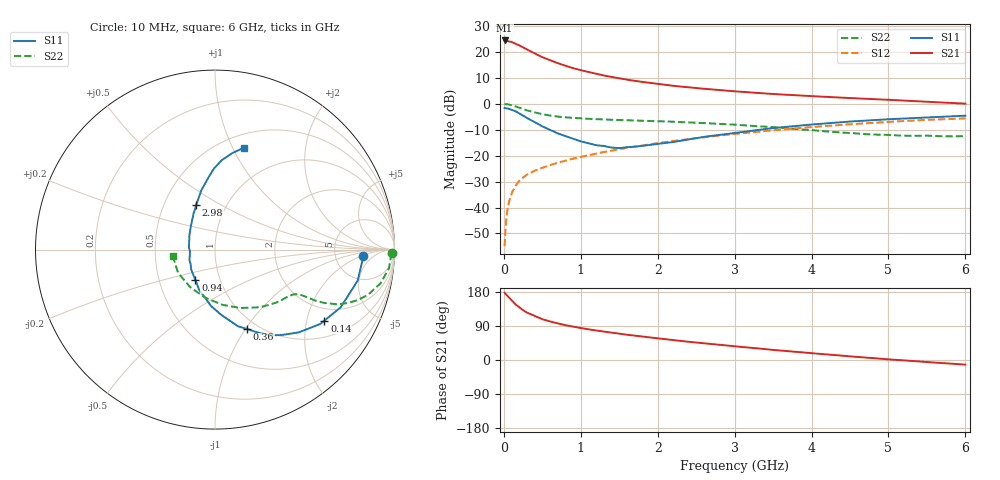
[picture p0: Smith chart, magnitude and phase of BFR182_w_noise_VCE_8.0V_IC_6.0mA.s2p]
! Infineon Technologies  Discrete & RF Semiconductors
! BFR182
! VCE =  8.0 V,  IC =  6.0 mA
! Common Emitter S-Parameters:  Nov 2015
# GHz  S  MA  R  50
!  f  S11  S21  S12  S22
! GHz  MAG  ANG  MAG  ANG  MAG  ANG  MAG  ANG
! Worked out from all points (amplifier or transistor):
!   210 points, 10 MHz to 6 GHz, reference 50 ohm
!   highest |S21| = 24.4 dB at 10 MHz (marker M1)
!   |S21| within 3 dB of that: start of sweep to 273.3 MHz
!   unconditionally stable (mu >= 1): 1.064 GHz to 2.915 GHz
!   at 185 MHz: K = 0.36, MSG = 26.5 dB, |S12| = -30.3 dB
!   at 1.52 GHz: K = 1.05, MAG = 12.2 dB, |S12| = -17.4 dB
!   at 6 GHz: K = 0.88, MSG = 2.8 dB, |S12| = -5.6 dB
!   lowest NFmin = 1.20 dB at 450 MHz
!   S11 on the Smith chart (normalised r, x): 10 MHz: 10, -2; 140 MHz: 1.53, -2.56; 360 MHz: 0.89, -1.02; 940 MHz: 0.76, -0.27; 2.98 GHz: 0.72, +0.39; 6 GHz: 0.64, +1.10
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0.01  0.8257 -2.5  16.58 177.3  0.0018 92.4  0.9863 -1.2
0.04  0.8148 -9.8  16.23 170.6  0.0077 83.5  0.9764 -4.9
0.1  0.7704 -24.7  15.54 157.8  0.0185 77.9  0.9403 -11.6
0.14  0.7267 -33.0  14.59 149.4  0.0244 73.7  0.8996 -15.4
0.15  0.7183 -35.2  14.41 147.1  0.0259 72.9  0.8901 -16.4
0.2  0.6559 -44.7  13.34 139.0  0.0326 69.7  0.8414 -19.6
0.24  0.6032 -52.1  12.46 132.9  0.0368 66.7  0.8011 -21.7
0.3  0.5317 -61.4  11.16 125.1  0.0428 65.1  0.7451 -24.1
0.36  0.4776 -68.0  10.03 120.0  0.0478 63.6  0.7053 -25.2
0.4  0.4458 -73.3  9.318 116.0  0.0512 62.8  0.6789 -26.0
0.5  0.3667 -84.3  7.893 107.7  0.0582 62.1  0.6291 -26.9
0.6  0.3147 -94.1  6.893 101.5  0.0656 62.2  0.5909 -27.3
0.8  0.2401 -111.7  5.382 91.9  0.08 62.7  0.5467 -27.7
0.94  0.2021 -122.6  4.676 86.5  0.0903 63.2  0.5294 -28.2
1.02  0.1849 -131.0  4.36 83.7  0.096 63.3  0.5203 -28.6
1.4  0.143 -168.6  3.277 72.2  0.1245 63.7  0.4912 -31.5
2.02  0.1699 145.6  2.388 56.7  0.1754 61.5  0.4604 -38.5
2.98  0.2704 112.8  1.747 36.4  0.2599 55.0  0.3966 -54.3
3.1  0.2854 110.2  1.694 34.3  0.2708 53.8  0.3857 -56.9
4.1  0.4085 94.7  1.378 16.3  0.3645 43.8  0.3005 -85.7
5.1  0.5107 84.1  1.171 0.4  0.4554 32.1  0.2459 -127.9
6  0.5884 74.3  1.006 -12.3  0.5222 19.7  0.2381 -171.0
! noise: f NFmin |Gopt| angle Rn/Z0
0.45  1.2  0.27  37  0.3
0.9  1.3  0.25  75  0.23
1.8  1.9  0.21  145  0.2
